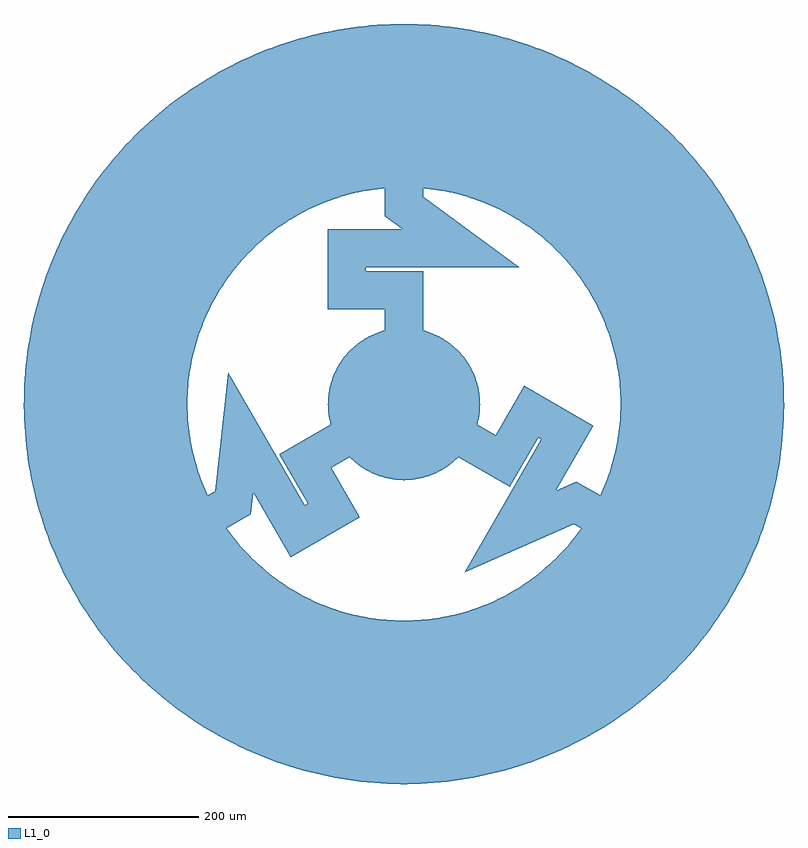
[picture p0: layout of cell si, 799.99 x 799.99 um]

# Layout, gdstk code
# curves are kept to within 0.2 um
import gdstk
lib = gdstk.Library(unit=1e-6, precision=1e-09)
def P(c, l, *ps):  # polygons
    for p in ps: c.add(gdstk.Polygon(p, *l))
L1_0 = (1, 0)

c_si = lib.new_cell('si')
P(c_si, L1_0, [(-0.7,-79.997),(-7.689,-79.63),(-15.993,-78.385),(-24.121,-76.277),(-30.696,-73.877),(-37.035,-70.911),(-44.264,-66.639),(-51.005,-61.632),(-57.184,-55.946),(-61.855,-50.735),(-66.832,-43.972),(-71.073,-36.724),(-74.531,-29.072),(-77.167,-21.1),(-78.716,-14.275),(-79.663,-7.34),(-79.993,1.05),(-79.595,8.037),(-78.314,16.336),(-76.171,24.455),(-73.188,32.304),(-69.398,39.798),(-65.655,45.711),(-60.502,52.341),(-55.696,57.428),(-49.369,62.95),(-43.679,67.024),(-37.654,70.585),(-30.048,74.143),(-22.111,76.884),(-13.93,78.778),(-6.992,79.694),(1.4,79.988),(9.777,79.4),(16.679,78.242),(24.788,76.063),(32.624,73.046),(40.101,69.224),(45.998,65.454),(52.605,60.272),(57.671,55.444),(63.165,49.093),(67.214,43.385),(71.391,36.101),(74.782,28.419),(76.98,21.774),(78.838,13.585),(79.724,6.643),(79.981,-1.75),(79.357,-10.124),(78.168,-17.021),(75.954,-25.121),(73.468,-31.663),(69.744,-39.189),(66.052,-45.134),(61.855,-50.735),(56.196,-56.939),(51.005,-61.632),(44.264,-66.639),(37.035,-70.911),(30.696,-73.877),(22.783,-76.687),(14.619,-78.653),(7.689,-79.63)],
  [(-3.5,-399.985),(-24.487,-399.25),(-45.407,-397.414),(-66.201,-394.484),(-86.813,-390.466),(-107.186,-385.372),(-127.263,-379.215),(-146.989,-372.014),(-159.919,-366.642),(-178.94,-357.744),(-197.469,-347.859),(-215.453,-337.017),(-227.115,-329.27),(-244.083,-316.897),(-255.024,-308.161),(-270.845,-294.352),(-285.92,-279.732),(-300.206,-264.341),(-309.274,-253.673),(-322.161,-237.092),(-334.159,-219.858),(-345.237,-202.018),(-355.364,-183.621),(-364.511,-164.717),(-370.052,-151.86),(-377.512,-132.23),(-383.931,-112.235),(-389.293,-91.931),(-393.581,-71.374),(-395.838,-57.556),(-398.313,-36.702),(-399.69,-15.748),(-399.966,5.25),(-399.537,19.245),(-398.619,33.215),(-397.212,47.145),(-395.319,61.018),(-392.941,74.815),(-390.082,88.521),(-384.899,108.871),(-380.853,122.274),(-376.34,135.528),(-371.367,148.616),(-365.938,161.521),(-360.061,174.229),(-353.743,186.723),(-346.992,198.989),(-339.816,211.01),(-328.652,228),(0,228),(-15.949,227.442),(-27.863,226.291),(-43.624,223.788),(-55.309,221.19),(-70.646,216.779),(-81.925,212.773),(-96.608,206.521),(-107.313,201.166),(-117.723,195.257),(-131.093,186.544),(-143.821,176.917),(-152.907,169.125),(-161.573,160.867),(-172.43,149.171),(-180.021,139.916),(-189.367,126.981),(-195.77,116.868),(-203.466,102.887),(-208.585,92.067),(-214.514,77.251),(-218.273,65.887),(-222.347,50.457),(-225.332,34.78),(-226.846,22.906),(-227.736,10.969),(-227.945,-4.988),(-227.37,-16.944),(-225.627,-32.807),(-223.595,-44.603),(-219.927,-60.134),(-215.182,-75.371),(-210.93,-86.56),(-204.358,-101.103),(-198.77,-111.688),(-190.471,-125.319),(-183.631,-135.142),(-173.728,-147.657),(-165.74,-156.571),(-154.382,-167.781),(-145.363,-175.652),(-132.72,-185.39),(-122.808,-192.099),(-112.557,-198.28),(-98.412,-205.668),(-83.784,-212.048),(-72.54,-216.153),(-61.096,-219.662),(-45.581,-223.397),(-29.842,-226.039),(-17.938,-227.293),(-1.995,-227.991),(9.973,-227.782),(25.882,-226.526),(37.735,-224.856),(53.371,-221.665),(64.931,-218.559),(80.06,-213.482),(91.154,-208.986),(105.549,-202.098),(116.01,-196.28),(129.456,-187.684),(139.127,-180.631),(151.422,-170.457),(160.159,-162.275),(168.454,-153.646),(176.286,-144.593),(183.631,-135.142),(190.471,-125.319),(196.785,-115.15),(202.557,-104.664),(207.771,-93.889),(212.412,-82.855),(216.468,-71.593),(219.927,-60.134),(222.78,-48.509),(225.019,-36.75),(226.637,-24.891),(227.631,-12.962),(227.998,-0.998),(227.736,10.969),(226.846,22.906),(225.332,34.78),(223.196,46.558),(220.445,58.207),(217.086,69.696),(213.129,80.993),(208.585,92.067),(203.466,102.887),(197.785,113.424),(191.56,123.647),(184.807,133.53),(177.544,143.045),(169.793,152.166),(161.573,160.867),(152.907,169.125),(143.821,176.917),(131.093,186.544),(117.723,195.257),(103.776,203.013),(89.321,209.775),(74.429,215.51),(63.016,219.119),(55.309,221.19),(39.701,224.517),(23.899,226.744),(11.966,227.686),(0,228),(-328.652,228),(-315.826,245.467),(-307.042,256.369),(-297.882,266.958),(-288.357,277.219),(-278.478,287.141),(-263.025,301.36),(-252.317,310.381),(-241.3,319.021),(-224.225,331.245),(-206.532,342.556),(-194.417,349.574),(-182.064,356.164),(-169.488,362.317),(-156.704,368.027),(-137.173,375.744),(-123.94,380.314),(-110.554,384.419),(-90.227,389.691),(-76.534,392.61),(-62.747,395.048),(-41.927,397.797),(-20.993,399.449),(-7,399.939),(7,399.939),(20.993,399.449),(41.927,397.797),(62.747,395.048),(83.393,391.21),(103.809,386.295),(117.265,382.425),(137.173,375.744),(156.704,368.027),(175.803,359.296),(194.417,349.574),(212.495,338.889),(229.988,327.27),(246.846,314.749),(263.025,301.36),(273.41,291.971),(288.357,277.219),(297.882,266.958),(311.482,250.957),(324.223,234.264),(336.071,216.925),(346.992,198.989),(356.957,180.504),(363.056,167.901),(371.367,148.616),(378.655,128.921),(382.935,115.59),(388.473,95.334),(392.941,74.815),(396.326,54.09),(398.619,33.215),(399.537,19.245),(399.996,-1.75),(399.353,-22.74),(397.609,-43.668),(394.77,-64.475),(390.842,-85.104),(385.837,-105.499),(379.768,-125.603),(375.14,-138.816),(367.338,-158.313),(358.523,-177.373),(352.096,-189.812),(341.649,-208.029),(330.261,-225.672),(322.161,-237.092),(309.274,-253.673),(295.534,-269.554),(280.98,-284.693),(265.652,-299.047),(249.591,-312.577),(232.843,-325.245),(215.453,-337.017),(197.469,-347.859),(178.94,-357.744),(159.919,-366.642),(146.989,-372.014),(127.263,-379.215),(107.186,-385.372),(93.633,-388.887),(73.095,-393.265),(52.355,-396.559),(31.471,-398.76),(17.496,-399.617)])
c_si.add(gdstk.FlexPath([(0,0),(0,120),(-60,120),(-60,164),(60,164),(60,164),(0,208),(0,228)], 40, ends="flush", simple_path=True, layer=1, datatype=0))  # L1_0
c_si.add(gdstk.FlexPath([(0,0),(-103.923,-60),(-73.923,-111.962),(-112.028,-133.962),(-172.028,-30.038),(-172.028,-30.038),(-180.133,-104),(-197.454,-114)], 40, ends="flush", simple_path=True, layer=1, datatype=0))  # L1_0
c_si.add(gdstk.FlexPath([(0,0),(103.923,-60),(133.923,-8.038),(172.028,-30.038),(112.028,-133.962),(112.028,-133.962),(180.133,-104),(197.454,-114)], 40, ends="flush", simple_path=True, layer=1, datatype=0))  # L1_0

lib.write_gds('si.gds')
